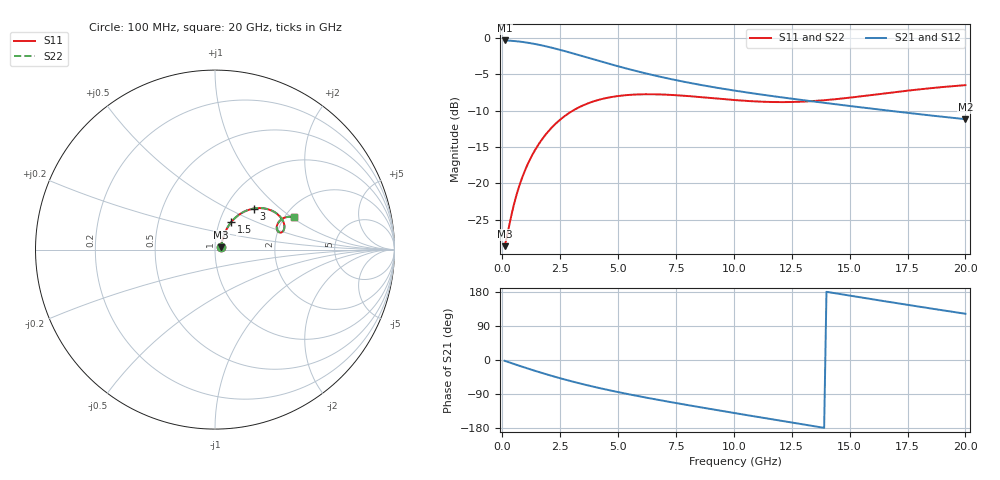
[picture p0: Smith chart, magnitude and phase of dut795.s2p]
! Touchstone file exported from HFSS 2024.1.0
!  File:  C:/UserFiles/LocalFiles/RDL_TSV_Batchsim/temp_RDL_TSV_795_1779909317.aedt
!  Generated:  03:29:37 AM May 28, 2026
!  Design:  RDL_TSV
!  Project:  temp_RDL_TSV_795_1779909317
!  Setup:  Setup1
!  Solution:  Sweep
! Variables:
!  dtsv = 8.65um
!  hbump = 3um
!  htsv = 68.94um
!  ldown = 484.66um
!  lrdl = 515.34um
!  p = 40
!  p1 = 55.52um
!  rhole = 10um
!  subl = 3515.34um
!  t = 450um
!  tdown = 2.06um
!  trdl = 4.13um
!  viad = 10um
!  wdown = 13.53um
!  wrdl = 10.27um
!  xbump = 18um
# GHz S MA R 50.000000
! Terminal data exported
! Port[1] = TM1_1_T1
! Port[2] = TM1_4_T1
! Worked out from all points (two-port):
!   200 points, 100 MHz to 20 GHz, reference 50 ohm
!   highest |S21| = -0.31 dB at 100 MHz (marker M1); lowest = -11.2 dB at 20 GHz (marker M2)
!   |S21| within 3 dB of the highest: start of sweep to 4.374 GHz
!   lowest |S11| = -28.7 dB at 100 MHz (marker M3), VSWR 1.08, Z = 53.6 + j1.27 ohm
!   |S11| at or under -10 dB: start of sweep to 3.039 GHz
!   |S22| runs from -28.7 to -6.5 dB; largest |S21 - S12| = 1e-14
!   S11 on the Smith chart (normalised r, x): 100 MHz: 1.07, +0.03; 1.5 GHz: 1.14, +0.36; 3 GHz: 1.35, +0.68; 20 GHz: 2.24, +1.04
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0.1  0.03687 18.7  0.965 -2.1  0.965 -2.1  0.03686 18.7
! Gamma 0 0 0 0
! Port Impedance 50 0 50 0
0.5  0.07111 53.3  0.9569 -10.4  0.9569 -10.4  0.07111 53.3
0.7  0.09231 57.9  0.9498 -14.5  0.9498 -14.5  0.09231 58.0
1.1  0.1356 60.5  0.9308 -22.5  0.9308 -22.5  0.1356 60.5
1.5  0.1785 59.5  0.9066 -30.2  0.9066 -30.2  0.1785 59.5
1.8  0.2094 57.6  0.8857 -35.8  0.8857 -35.8  0.2094 57.6
2.2  0.2481 54.3  0.8552 -43.0  0.8552 -43.0  0.2481 54.3
2.6  0.283 50.6  0.823 -49.9  0.823 -49.9  0.2831 50.7
3  0.3135 46.8  0.7901 -56.4  0.7901 -56.4  0.3136 46.8
3.5  0.3451 42.1  0.7496 -64.1  0.7496 -64.1  0.3452 42.1
4.3  0.3809 35.1  0.6885 -75.5  0.6885 -75.5  0.3811 35.1
5.1  0.4013 29.1  0.6343 -86.0  0.6343 -86.0  0.4016 29.1
5.9  0.41 24.1  0.5876 -95.7  0.5876 -95.7  0.4104 24.2
6.8  0.4098 19.9  0.5433 -105.9  0.5433 -105.9  0.4103 19.9
8.4  0.3948 15.4  0.4819 -123.1  0.4819 -123.1  0.3955 15.4
10.1  0.3741 14.7  0.4337 -140.7  0.4337 -140.7  0.3748 14.7
11.7  0.3632 17.0  0.3983 -157.0  0.3983 -157.0  0.3639 17.0
13.4  0.3687 20.8  0.367 -174.1  0.367 -174.1  0.3694 20.8
14.9  0.3876 23.5  0.3427 170.9  0.3427 170.9  0.3882 23.4
16.7  0.4198 24.7  0.3165 153.3  0.3165 153.3  0.4203 24.6
18.3  0.4491 24.0  0.2959 137.9  0.2959 137.9  0.4494 24.0
20  0.4746 22.2  0.2767 122.0  0.2767 122.0  0.4748 22.2
